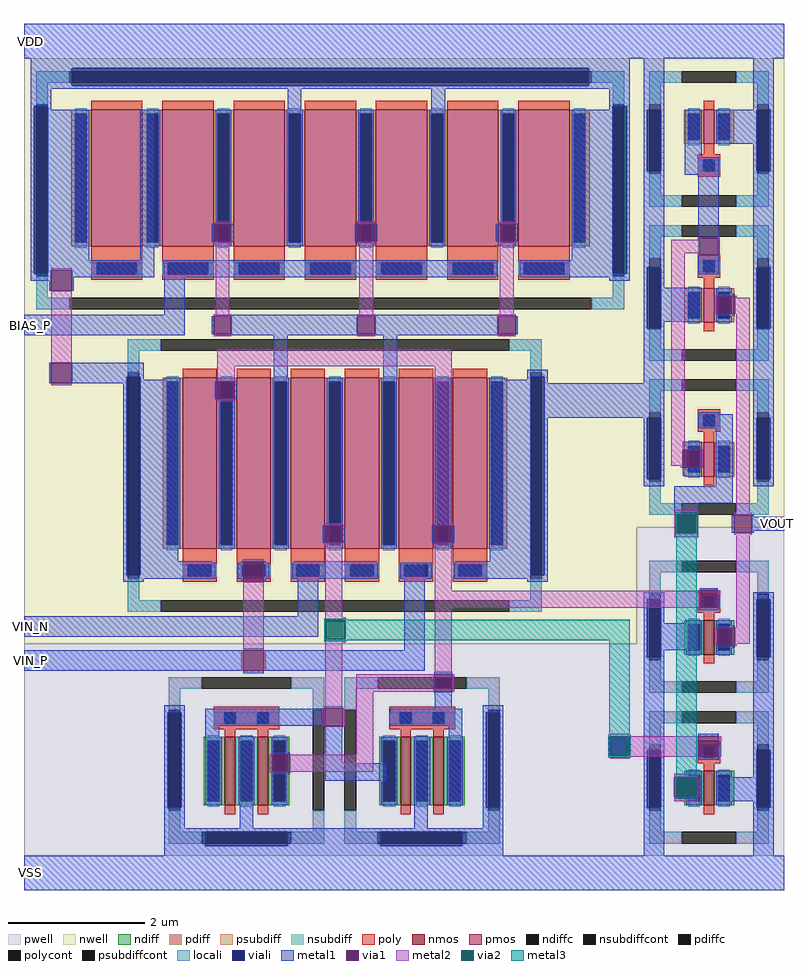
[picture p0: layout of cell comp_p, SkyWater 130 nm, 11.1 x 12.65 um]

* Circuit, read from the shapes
.subckt comp_p VDD VSS BIAS_P VOUT VIN_P VIN_N
XM1 VSS sky130_fd_pr__nfet_01v8_9DM3XL_0/D0 sky130_fd_pr__nfet_01v8_9DM3XL_0/D0 VSS sky130_fd_pr__nfet_01v8 w=1 l=0.15
XM2 sky130_fd_pr__nfet_01v8_9DM3XL_1/G sky130_fd_pr__nfet_01v8_9DM3XL_0/D0 VSS VSS sky130_fd_pr__nfet_01v8 w=1 l=0.15
XM3 VSS sky130_fd_pr__nfet_01v8_9DM3XL_1/G sky130_fd_pr__nfet_01v8_9DM3XL_0/D0 VSS sky130_fd_pr__nfet_01v8 w=1 l=0.15
XM4 sky130_fd_pr__nfet_01v8_9DM3XL_1/G sky130_fd_pr__nfet_01v8_9DM3XL_1/G VSS VSS sky130_fd_pr__nfet_01v8 w=1 l=0.15
XM5 VSS sky130_fd_pr__nfet_01v8_9DM3XL_0/D0 sky130_fd_pr__nfet_01v8_CTHBRU_0/D VSS sky130_fd_pr__nfet_01v8 w=0.5 l=0.15
XM6 VOUT sky130_fd_pr__nfet_01v8_9DM3XL_1/G VSS VSS sky130_fd_pr__nfet_01v8 w=0.5 l=0.15
XM7 VDD VDD VDD VDD sky130_fd_pr__pfet_01v8 w=2 l=0.75
XM8 sky130_fd_pr__pfet_01v8_4RRFEZ_0/D2 BIAS_P VDD VDD sky130_fd_pr__pfet_01v8 w=2 l=0.75 m=5
XM9 sky130_fd_pr__nfet_01v8_9DM3XL_1/G VDD VDD VDD sky130_fd_pr__pfet_01v8 w=2.5 l=0.5 m=2
XM10 sky130_fd_pr__pfet_01v8_4RRFEZ_0/D2 VIN_P sky130_fd_pr__nfet_01v8_9DM3XL_1/G VDD sky130_fd_pr__pfet_01v8 w=2.5 l=0.5 m=2
XM11 sky130_fd_pr__nfet_01v8_9DM3XL_0/D0 VIN_N sky130_fd_pr__pfet_01v8_4RRFEZ_0/D2 VDD sky130_fd_pr__pfet_01v8 w=2.5 l=0.5 m=2
XM12 VDD VDD sky130_fd_pr__pfet_01v8_4RRFEZ_0/D2 VDD sky130_fd_pr__pfet_01v8 w=2 l=0.75
XM13 sky130_fd_pr__nfet_01v8_CTHBRU_0/D sky130_fd_pr__nfet_01v8_CTHBRU_0/D sky130_fd_pr__pfet_01v8_FTRNYQ_0/D VDD sky130_fd_pr__pfet_01v8 w=0.5 l=0.15
XM14 VOUT sky130_fd_pr__pfet_01v8_FTRNYQ_0/D VDD VDD sky130_fd_pr__pfet_01v8 w=0.5 l=0.15
XM15 VDD sky130_fd_pr__pfet_01v8_FTRNYQ_0/D sky130_fd_pr__pfet_01v8_FTRNYQ_0/D VDD sky130_fd_pr__pfet_01v8 w=0.5 l=0.15
.ends

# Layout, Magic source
magic
tech sky130A
magscale 1 2
<< nwell >>
rect -620 310 1600 1680
rect -620 -30 1170 310
<< pwell >>
rect 1170 -30 1600 310
rect -620 -650 1600 -30
<< viali >>
rect -480 1600 1030 1650
rect -590 1050 -550 1540
rect 1100 1050 1140 1540
rect 1200 1350 1240 1530
rect 1520 1350 1560 1530
rect 1200 890 1240 1070
rect 1520 890 1560 1070
rect -320 170 -280 750
rect 860 170 900 750
rect 1200 450 1240 630
rect 1520 450 1560 630
rect 1200 -70 1240 100
rect 1520 -70 1560 100
rect -200 -510 -160 -230
rect 730 -510 770 -230
rect 1200 -510 1240 -340
rect 1520 -510 1560 -340
rect -90 -620 150 -580
rect 420 -620 660 -580
<< metal1 >>
rect -620 1680 1600 1780
rect -600 1650 1150 1680
rect -600 1600 -480 1650
rect 1030 1600 1150 1650
rect -600 1590 1150 1600
rect -600 1540 -540 1590
rect -600 1050 -590 1540
rect -550 1530 -540 1540
rect -550 1090 -430 1530
rect -280 1090 -240 1530
rect 150 1520 190 1590
rect 570 1520 610 1590
rect 1090 1540 1150 1590
rect 1090 1530 1100 1540
rect -72 1144 -66 1196
rect -14 1144 -8 1196
rect 348 1144 354 1196
rect 406 1144 412 1196
rect 758 1144 764 1196
rect 816 1144 822 1196
rect 980 1090 1100 1530
rect -550 1060 -240 1090
rect -550 1050 -540 1060
rect -600 1030 -540 1050
rect -546 1000 -540 1030
rect -480 1040 -240 1060
rect -210 1040 760 1090
rect 830 1050 1100 1090
rect 1140 1050 1150 1540
rect 830 1040 1150 1050
rect -480 1000 -474 1040
rect -210 930 -150 1040
rect 1090 1030 1150 1040
rect 1190 1530 1250 1680
rect 1510 1530 1570 1680
rect 1190 1350 1200 1530
rect 1240 1350 1250 1530
rect 1190 1070 1250 1350
rect 1310 1390 1360 1530
rect 1410 1430 1520 1530
rect 1310 1340 1410 1390
rect -620 870 -150 930
rect -60 926 810 930
rect -72 874 -66 926
rect -14 874 354 926
rect 406 874 764 926
rect 816 874 822 926
rect 1190 890 1200 1070
rect 1240 1010 1250 1070
rect 1350 1156 1410 1340
rect 1350 1104 1354 1156
rect 1406 1104 1410 1156
rect 1350 1050 1410 1104
rect 1510 1350 1520 1430
rect 1560 1350 1570 1530
rect 1510 1070 1570 1350
rect 1240 910 1360 1010
rect 1404 986 1456 992
rect 1404 928 1456 934
rect 1240 890 1250 910
rect -60 870 810 874
rect -546 730 -540 790
rect -480 750 -270 790
rect -480 730 -320 750
rect -330 170 -320 730
rect -280 740 -270 750
rect 110 740 150 870
rect 430 740 470 870
rect 850 750 910 770
rect 850 740 860 750
rect -280 210 -170 740
rect -62 684 -56 736
rect -4 684 2 736
rect 253 264 259 316
rect 311 264 317 316
rect 573 264 579 316
rect 631 264 637 316
rect 740 210 860 740
rect -280 170 -70 210
rect -330 160 -70 170
rect -330 150 -270 160
rect 14 150 20 210
rect 80 150 86 210
rect 170 160 410 210
rect 180 50 240 160
rect -620 -10 240 50
rect 20 -50 80 -44
rect 490 -50 550 200
rect 640 170 860 210
rect 900 730 910 750
rect 1190 730 1250 890
rect 900 630 1250 730
rect 1510 890 1520 1070
rect 1560 890 1570 1070
rect 900 170 910 630
rect 1190 450 1200 630
rect 1240 450 1250 630
rect 1350 600 1450 640
rect 1304 536 1360 560
rect 1356 484 1360 536
rect 1304 460 1360 484
rect 1190 430 1250 450
rect 1400 430 1450 600
rect 1510 630 1570 890
rect 1510 450 1520 630
rect 1560 450 1570 630
rect 1510 430 1570 450
rect 1280 380 1450 430
rect 1280 346 1350 380
rect 1280 294 1289 346
rect 1341 294 1350 346
rect 1448 294 1454 346
rect 1506 340 1512 346
rect 1506 300 1600 340
rect 1506 294 1512 300
rect 1280 280 1350 294
rect 640 160 910 170
rect 850 150 910 160
rect 1354 126 1406 132
rect -620 -110 20 -50
rect 80 -110 550 -50
rect 1190 100 1250 120
rect 1190 -70 1200 100
rect 1240 30 1250 100
rect 1354 68 1406 74
rect 1510 100 1570 120
rect 1240 -50 1350 30
rect 1404 16 1456 22
rect 1404 -42 1456 -36
rect 1240 -70 1250 -50
rect 20 -116 80 -110
rect 579 -119 631 -113
rect 579 -177 631 -171
rect -210 -230 -150 -210
rect 259 -219 311 -213
rect -210 -510 -200 -230
rect -160 -510 -150 -230
rect -90 -270 259 -220
rect -90 -500 -50 -270
rect 580 -220 630 -177
rect 450 -270 660 -220
rect 259 -277 311 -271
rect -210 -570 -150 -510
rect 10 -570 50 -300
rect 104 -354 156 -348
rect 104 -412 156 -406
rect 260 -380 310 -277
rect 260 -430 440 -380
rect 520 -570 560 -300
rect 620 -500 660 -270
rect 720 -230 780 -210
rect 720 -510 730 -230
rect 770 -510 780 -230
rect 720 -570 780 -510
rect -210 -580 780 -570
rect -210 -620 -90 -580
rect 150 -620 420 -580
rect 660 -620 780 -580
rect -210 -650 780 -620
rect 1190 -340 1250 -70
rect 1510 -70 1520 100
rect 1560 -70 1570 100
rect 1190 -510 1200 -340
rect 1240 -510 1250 -340
rect 1350 -300 1410 -294
rect 1350 -366 1410 -360
rect 1510 -340 1570 -70
rect 1280 -420 1350 -410
rect 1510 -420 1520 -340
rect 1280 -480 1285 -420
rect 1345 -480 1350 -420
rect 1280 -490 1350 -480
rect 1410 -490 1520 -420
rect 1190 -650 1250 -510
rect 1510 -510 1520 -490
rect 1560 -510 1570 -340
rect 1510 -650 1570 -510
rect -620 -750 1600 -650
<< via1 >>
rect -66 1144 -14 1196
rect 354 1144 406 1196
rect 764 1144 816 1196
rect -540 1000 -480 1060
rect -66 874 -14 926
rect 354 874 406 926
rect 764 874 816 926
rect 1354 1104 1406 1156
rect 1404 934 1456 986
rect -540 730 -480 790
rect -56 684 -4 736
rect 259 264 311 316
rect 579 264 631 316
rect 20 150 80 210
rect 1304 484 1356 536
rect 1289 294 1341 346
rect 1454 294 1506 346
rect 20 -110 80 -50
rect 1354 74 1406 126
rect 1404 -36 1456 16
rect 579 -171 631 -119
rect 259 -271 311 -219
rect 104 -406 156 -354
rect 1350 -360 1410 -300
rect 1285 -480 1345 -420
<< metal2 >>
rect -66 1196 -14 1202
rect -66 1138 -14 1144
rect 354 1196 406 1202
rect 354 1138 406 1144
rect 764 1196 816 1202
rect 1348 1150 1354 1156
rect 764 1138 816 1144
rect -540 1060 -480 1066
rect -540 790 -480 1000
rect -60 932 -20 1138
rect 360 932 400 1138
rect 770 932 810 1138
rect 1270 1110 1354 1150
rect -66 926 -14 932
rect -66 868 -14 874
rect 354 926 406 932
rect 354 868 406 874
rect 764 926 816 932
rect 764 868 816 874
rect -55 780 630 830
rect -55 742 -5 780
rect -540 724 -480 730
rect -56 736 -4 742
rect -56 678 -4 684
rect 580 322 630 780
rect 1270 536 1310 1110
rect 1348 1104 1354 1110
rect 1406 1104 1412 1156
rect 1398 934 1404 986
rect 1456 980 1462 986
rect 1456 934 1500 980
rect 1270 490 1304 536
rect 1298 484 1304 490
rect 1356 484 1362 536
rect 1280 348 1350 360
rect 1460 352 1500 934
rect 259 316 311 322
rect 259 258 311 264
rect 579 316 631 322
rect 1280 292 1287 348
rect 1343 292 1350 348
rect 1280 280 1350 292
rect 1454 346 1506 352
rect 1454 288 1506 294
rect 579 258 631 264
rect 20 210 80 216
rect 20 -50 80 150
rect 260 47 310 258
rect 580 125 630 258
rect 1348 125 1354 126
rect 580 75 1354 125
rect 260 38 318 47
rect 260 -18 262 38
rect 260 -27 318 -18
rect 14 -110 20 -50
rect 80 -110 86 -50
rect 260 -219 310 -27
rect 580 -119 630 75
rect 1348 74 1354 75
rect 1406 74 1412 126
rect 1460 16 1500 288
rect 1398 -36 1404 16
rect 1456 -30 1500 16
rect 1456 -36 1462 -30
rect 573 -120 579 -119
rect 350 -170 579 -120
rect 253 -271 259 -219
rect 311 -271 317 -219
rect 98 -406 104 -354
rect 156 -355 162 -354
rect 350 -355 400 -170
rect 573 -171 579 -170
rect 631 -171 637 -119
rect 1092 -300 1148 -293
rect 156 -405 400 -355
rect 1090 -302 1350 -300
rect 1090 -358 1092 -302
rect 1148 -358 1350 -302
rect 1090 -360 1350 -358
rect 1410 -360 1416 -300
rect 1092 -367 1148 -360
rect 156 -406 162 -405
rect 1280 -420 1350 -410
rect 1280 -422 1285 -420
rect 1345 -422 1350 -420
rect 1278 -478 1285 -422
rect 1345 -478 1352 -422
rect 1280 -480 1285 -478
rect 1345 -480 1350 -478
rect 1280 -490 1350 -480
<< via2 >>
rect 1287 346 1343 348
rect 1287 294 1289 346
rect 1289 294 1341 346
rect 1341 294 1343 346
rect 1287 292 1343 294
rect 262 -18 318 38
rect 1092 -358 1148 -302
rect 1287 -478 1343 -422
<< metal3 >>
rect 1282 348 1348 353
rect 1282 292 1287 348
rect 1343 292 1348 348
rect 1282 287 1348 292
rect 257 40 323 43
rect 257 38 1150 40
rect 257 -18 262 38
rect 318 -18 1150 38
rect 257 -20 1150 -18
rect 257 -23 323 -20
rect 1090 -297 1150 -20
rect 1087 -302 1153 -297
rect 1087 -358 1092 -302
rect 1148 -358 1153 -302
rect 1087 -363 1153 -358
rect 1285 -417 1345 287
rect 1282 -422 1348 -417
rect 1282 -478 1287 -422
rect 1343 -478 1348 -422
rect 1282 -483 1348 -478
use sky130_fd_pr__nfet_01v8_9DM3XL  sky130_fd_pr__nfet_01v8_9DM3XL_0
transform 1 0 30 0 1 -371
box -263 -279 263 279
use sky130_fd_pr__nfet_01v8_9DM3XL  sky130_fd_pr__nfet_01v8_9DM3XL_1
transform 1 0 543 0 1 -371
box -263 -279 263 279
use sky130_fd_pr__nfet_01v8_CTHBRU  sky130_fd_pr__nfet_01v8_CTHBRU_0
transform 1 0 1381 0 1 -421
box -211 -229 211 229
use sky130_fd_pr__nfet_01v8_CTHBRU  sky130_fd_pr__nfet_01v8_CTHBRU_1
transform 1 0 1381 0 1 19
box -211 -229 211 229
use sky130_fd_pr__pfet_01v8_4RRFEZ  sky130_fd_pr__pfet_01v8_4RRFEZ_0
transform 1 0 288 0 1 461
box -641 -434 641 434
use sky130_fd_pr__pfet_01v8_57LR5P  sky130_fd_pr__pfet_01v8_57LR5P_0
transform 1 0 275 0 1 1294
box -895 -384 895 384
use sky130_fd_pr__pfet_01v8_FTRNYQ  sky130_fd_pr__pfet_01v8_FTRNYQ_0
transform 1 0 1381 0 1 1444
box -211 -234 211 234
use sky130_fd_pr__pfet_01v8_UFRNYY  sky130_fd_pr__pfet_01v8_UFRNYY_0
transform 1 0 1381 0 1 994
box -211 -234 211 234
use sky130_fd_pr__pfet_01v8_UFRNYY  sky130_fd_pr__pfet_01v8_UFRNYY_1
transform 1 0 1381 0 1 544
box -211 -234 211 234
<< labels >>
flabel metal1 -620 1710 -580 1750 0 FreeSans 240 0 0 0 VDD
port 1 nsew
flabel metal1 -620 -720 -580 -680 0 FreeSans 240 0 0 0 VSS
port 2 nsew
flabel metal1 -620 880 -580 920 0 FreeSans 240 0 0 0 BIAS_P
port 3 nsew
flabel metal1 1560 300 1600 340 0 FreeSans 240 0 0 0 VOUT
port 4 nsew
flabel metal1 -620 -100 -580 -60 0 FreeSans 240 0 0 0 VIN_P
port 5 nsew
flabel metal1 -620 0 -580 40 0 FreeSans 240 0 0 0 VIN_N
port 6 nsew
<< end >>

# cell sky130_fd_pr__nfet_01v8_9DM3XL: kit device sky130_fd_pr__nfet_01v8, w 1 l 0.150 m 1 nf 2 diffcov 100 polycov 100 guard 1 glc 1 grc 1 gtc 1 gbc 1 tbcov 100 rlcov 100 topc 1 botc 0 poverlap 0 doverlap 1 lmin 0.15 wmin 0.42 class mosfet compatible {sky130_fd_pr__nfet_01v8 sky130_fd_pr__nfet_01v8_lvt sky130_fd_bs_flash__special_sonosfet_star sky130_fd_pr__nfet_g5v0d10v5 sky130_fd_pr__nfet_05v0_nvt sky130_fd_pr__nfet_03v3_nvt} full_metal 1 conn_gates 1 viasrc 100 viadrn 100 viagate 100 viagb 0 viagr 0 viagl 0 viagt 0 doports 1

# cell sky130_fd_pr__nfet_01v8_CTHBRU: kit device sky130_fd_pr__nfet_01v8, w 0.5 l 0.150 m 1 nf 1 diffcov 100 polycov 100 guard 1 glc 1 grc 1 gtc 1 gbc 1 tbcov 100 rlcov 100 topc 1 botc 0 poverlap 0 doverlap 1 lmin 0.15 wmin 0.42 class mosfet compatible {sky130_fd_pr__nfet_01v8 sky130_fd_pr__nfet_01v8_lvt sky130_fd_bs_flash__special_sonosfet_star sky130_fd_pr__nfet_g5v0d10v5 sky130_fd_pr__nfet_05v0_nvt sky130_fd_pr__nfet_03v3_nvt} full_metal 1 conn_gates 0 viasrc 100 viadrn 100 viagate 100 viagb 0 viagr 0 viagl 0 viagt 0 doports 1

# cell sky130_fd_pr__pfet_01v8_4RRFEZ: kit device sky130_fd_pr__pfet_01v8, w 2.5 l 0.5 m 1 nf 6 diffcov 100 polycov 100 guard 1 glc 1 grc 1 gtc 1 gbc 1 tbcov 100 rlcov 100 topc 0 botc 1 poverlap 0 doverlap 1 lmin 0.15 wmin 0.42 class mosfet compatible {sky130_fd_pr__pfet_01v8 sky130_fd_pr__pfet_01v8_lvt sky130_fd_pr__pfet_01v8_hvt sky130_fd_pr__pfet_g5v0d10v5} full_metal 1 conn_gates 0 viasrc 100 viadrn 100 viagate 100 viagb 0 viagr 0 viagl 0 viagt 0 doports 1

# cell sky130_fd_pr__pfet_01v8_57LR5P: kit device sky130_fd_pr__pfet_01v8, w 2 l 0.75 m 1 nf 7 diffcov 100 polycov 100 guard 1 glc 1 grc 1 gtc 1 gbc 1 tbcov 100 rlcov 100 topc 0 botc 1 poverlap 0 doverlap 1 lmin 0.15 wmin 0.42 class mosfet compatible {sky130_fd_pr__pfet_01v8 sky130_fd_pr__pfet_01v8_lvt sky130_fd_pr__pfet_01v8_hvt sky130_fd_pr__pfet_g5v0d10v5} full_metal 1 conn_gates 0 viasrc 100 viadrn 100 viagate 100 viagb 0 viagr 0 viagl 0 viagt 0 doports 1

# cell sky130_fd_pr__pfet_01v8_FTRNYQ: kit device sky130_fd_pr__pfet_01v8, w 0.5 l 0.15 m 1 nf 1 diffcov 100 polycov 100 guard 1 glc 1 grc 1 gtc 1 gbc 1 tbcov 100 rlcov 100 topc 0 botc 1 poverlap 0 doverlap 1 lmin 0.15 wmin 0.42 class mosfet compatible {sky130_fd_pr__pfet_01v8 sky130_fd_pr__pfet_01v8_lvt sky130_fd_pr__pfet_01v8_hvt sky130_fd_pr__pfet_g5v0d10v5} full_metal 1 conn_gates 0 viasrc 100 viadrn 100 viagate 100 viagb 0 viagr 0 viagl 0 viagt 0 doports 1

# cell sky130_fd_pr__pfet_01v8_UFRNYY: kit device sky130_fd_pr__pfet_01v8, w 0.5 l 0.15 m 1 nf 1 diffcov 100 polycov 100 guard 1 glc 1 grc 1 gtc 1 gbc 1 tbcov 100 rlcov 100 topc 1 botc 0 poverlap 0 doverlap 1 lmin 0.15 wmin 0.42 class mosfet compatible {sky130_fd_pr__pfet_01v8 sky130_fd_pr__pfet_01v8_lvt sky130_fd_pr__pfet_01v8_hvt sky130_fd_pr__pfet_g5v0d10v5} full_metal 1 conn_gates 0 viasrc 100 viadrn 100 viagate 100 viagb 0 viagr 0 viagl 0 viagt 0 doports 1
